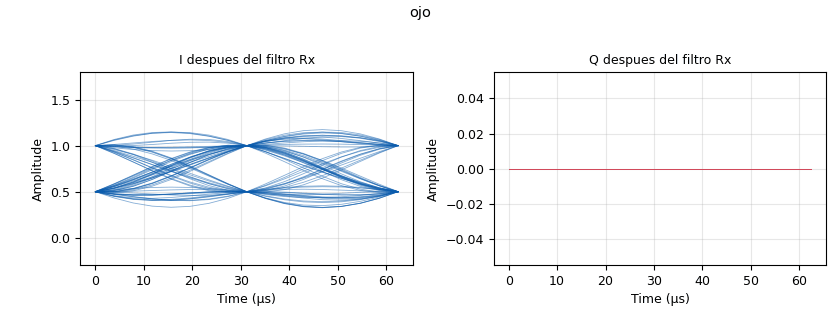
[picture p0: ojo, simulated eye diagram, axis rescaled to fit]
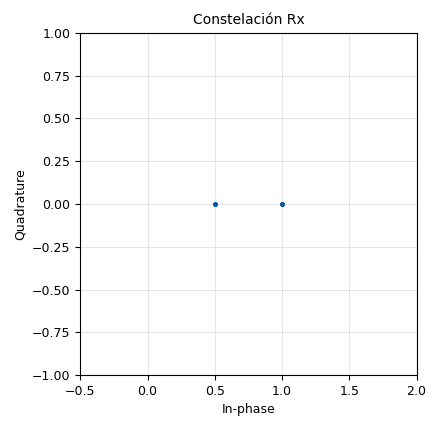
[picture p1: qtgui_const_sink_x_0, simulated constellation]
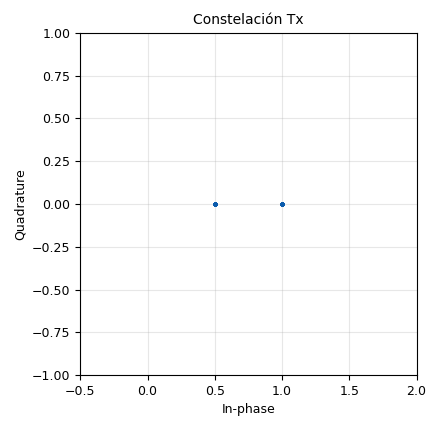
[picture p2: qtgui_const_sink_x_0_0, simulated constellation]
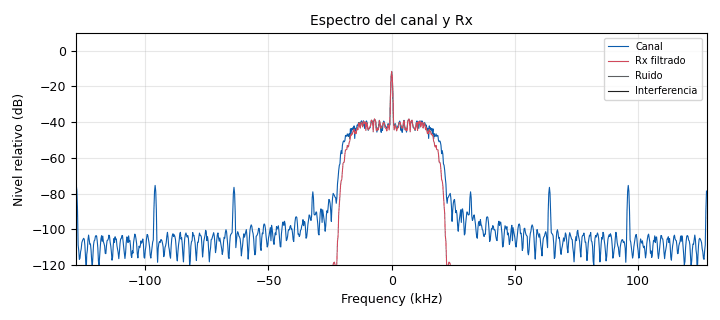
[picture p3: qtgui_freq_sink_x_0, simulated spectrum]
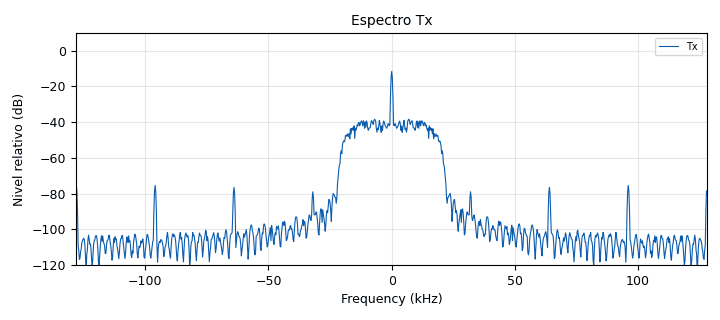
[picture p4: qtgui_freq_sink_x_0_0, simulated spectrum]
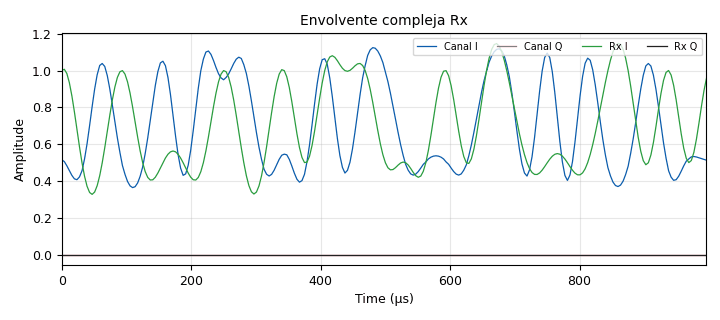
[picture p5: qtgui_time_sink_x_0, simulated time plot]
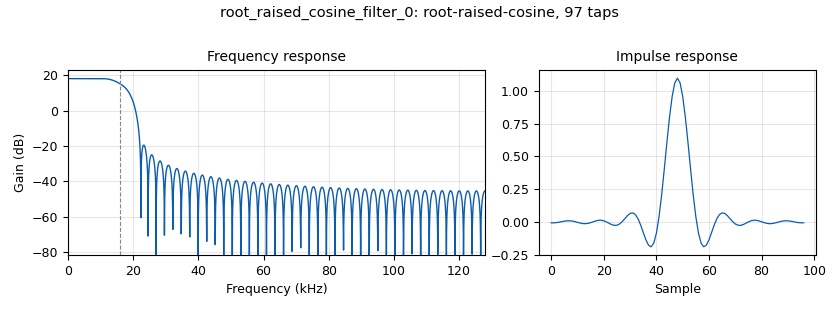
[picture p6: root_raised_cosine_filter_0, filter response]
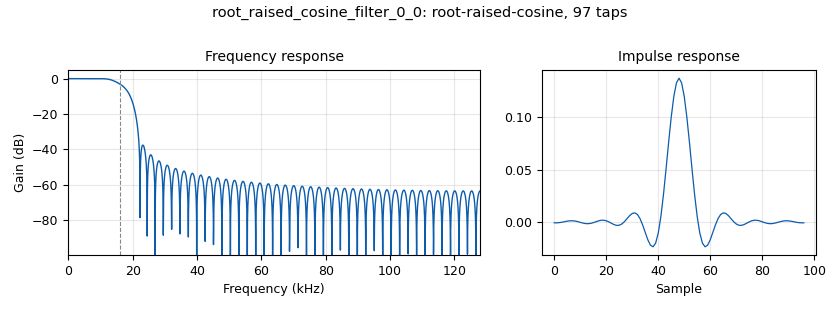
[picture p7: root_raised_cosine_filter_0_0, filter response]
options:
  parameters:
    description: 'Continuacion del diagrama del grupo: ASK, AWGN, interferencia y BER.'
    generate_options: qt_gui
    id: ASK_Fase2
    output_language: python
    title: ASK - Fase 2
  states: {}

blocks:
- name: M
  id: variable
  parameters:
    value: len(tabla_de_verdad_constelacion)
  states: {}
- name: Rb
  id: variable
  parameters:
    value: Rs*bps
  states: {}
- name: Rs
  id: variable
  parameters:
    value: '32000'
  states: {}
- name: Sps
  id: variable
  parameters:
    value: '8'
  states: {}
- name: bps
  id: variable
  parameters:
    value: int(math.log(M,2))
  states: {}
- name: interferencia_amp
  id: variable_qtgui_range
  parameters:
    gui_hint: 1,1,1,2
    label: Amplitud interferencia (0 = apagada)
    start: '0'
    step: '0.05'
    stop: '1'
    value: '0'
  states: {}
- name: n_taps
  id: variable
  parameters:
    comment: '97 coeficientes; retardo total Tx+Rx: 96 muestras.'
    value: 12*Sps+1
  states: {}
- name: noise_amp
  id: variable
  parameters:
    comment: 'Potencia nominal de ASK equiprobable: (0.5**2+1**2)/2 = 0.625.'
    value: ruido_activo*(0.625/10**(snr_db/10))**0.5
  states: {}
- name: ruido_activo
  id: variable_qtgui_check_box
  parameters:
    'false': '0'
    gui_hint: 0,0,1,1
    label: Activar ruido AWGN
    'true': '1'
    type: int
    value: '0'
  states: {}
- name: samp_rate
  id: variable
  parameters:
    value: Rs*Sps
  states: {}
- name: snr_db
  id: variable_qtgui_range
  parameters:
    gui_hint: 1,0,1,1
    label: SNR nominal (dB)
    start: '-4'
    step: '2'
    stop: '20'
    value: '8'
  states: {}
- name: tabla_de_verdad_constelacion
  id: variable
  parameters:
    comment: Cambie esta tabla para OOK ASK BPSK QPSK 8PSK o 16QAM
    value: (0.5+0j, 1.0+0j)
  states: {}
- name: alinear_rx
  id: blocks_skiphead
  parameters:
    num_items: n_taps-1
    type: complex
  states: {}
- name: analog_noise_source_x_0
  id: analog_noise_source_x
  parameters:
    amp: noise_amp
    noise_type: analog.GR_GAUSSIAN
    seed: '0'
    type: complex
  states: {}
- name: analog_random_source_x_0
  id: analog_random_source_x
  parameters:
    max: '2'
    min: '0'
    num_samps: '100000'
    repeat: 'True'
    type: byte
  states: {}
- name: analog_sig_source_x_0
  id: analog_sig_source_x
  parameters:
    amp: interferencia_amp
    freq: '1000'
    offset: '0'
    phase: '0'
    samp_rate: samp_rate
    type: complex
    waveform: analog.GR_SIN_WAVE
  states: {}
- name: ber_media
  id: blocks_moving_average_xx
  parameters:
    length: '10000'
    max_iter: '4000'
    scale: 1/10000
    type: float
  states: {}
- name: blocks_add_xx_0
  id: blocks_add_xx
  parameters:
    type: complex
  states: {}
- name: blocks_add_xx_1
  id: blocks_add_xx
  parameters:
    type: complex
  states: {}
- name: blocks_complex_to_mag_0
  id: blocks_complex_to_mag
  parameters: {}
  states: {}
- name: blocks_float_to_uchar_0
  id: blocks_float_to_uchar
  parameters: {}
  states: {}
- name: blocks_pack_k_bits_bb_0
  id: blocks_pack_k_bits_bb
  parameters:
    k: '8'
  states: {}
- name: blocks_packed_to_unpacked_xx_0
  id: blocks_packed_to_unpacked_xx
  parameters:
    bits_per_chunk: bps
    endianness: gr.GR_MSB_FIRST
    type: byte
  states: {}
- name: blocks_threshold_ff_0
  id: blocks_threshold_ff
  parameters:
    high: '0.75'
    init: '0'
    low: '0.75'
  states: {}
- name: comparar_bits
  id: blocks_xor_xx
  parameters:
    type: byte
  states: {}
- name: digital_chunks_to_symbols_xx_0
  id: digital_chunks_to_symbols_xx
  parameters:
    dimension: '1'
    in_type: byte
    out_type: complex
    symbol_table: tabla_de_verdad_constelacion
  states: {}
- name: errores_float
  id: blocks_uchar_to_float
  parameters: {}
  states: {}
- name: import_0
  id: import
  parameters:
    imports: import math
  states: {}
- name: muestrear
  id: blocks_keep_m_in_n
  parameters:
    m: '1'
    n: Sps
    offset: '0'
    type: complex
  states: {}
- name: ojo
  id: qtgui_eye_sink_x
  parameters:
    grid: 'True'
    gui_hint: vistas@3:0,0,1,1
    label1: I despues del filtro Rx
    label2: Q despues del filtro Rx
    samp_per_symbol: Sps
    size: '1024'
    srate: samp_rate
    type: complex
    ymax: '1.8'
    ymin: '-0.3'
  states: {}
- name: qtgui_const_sink_x_0
  id: qtgui_const_sink_x
  parameters:
    grid: 'True'
    gui_hint: vistas@0:0,1,1,1
    label1: '"Señal ruidosa"'
    legend: 'False'
    name: '"Constelación Rx"'
    size: '2048'
    type: complex
    xmin: '-0.5'
    ymax: '1'
    ymin: '-1'
  states: {}
- name: qtgui_const_sink_x_0_0
  id: qtgui_const_sink_x
  parameters:
    grid: 'True'
    gui_hint: vistas@0:0,0,1,1
    label1: '"Señal ruidosa"'
    legend: 'False'
    name: '"Constelación Tx"'
    size: '2048'
    type: complex
    xmin: '-0.5'
    ymax: '1'
    ymin: '-1'
  states: {}
- name: qtgui_freq_sink_x_0
  id: qtgui_freq_sink_x
  parameters:
    average: '0.2'
    bw: samp_rate
    fc: '0'
    fftsize: '1024'
    freqhalf: 'False'
    grid: 'True'
    gui_hint: vistas@2:0,1,1,1
    label: Nivel relativo
    label1: Canal
    label2: Rx filtrado
    label3: Ruido
    label4: Interferencia
    name: '"Espectro del canal y Rx"'
    nconnections: '4'
    type: complex
    ymin: '-120'
  states: {}
- name: qtgui_freq_sink_x_0_0
  id: qtgui_freq_sink_x
  parameters:
    average: '0.2'
    bw: samp_rate
    fc: '0'
    fftsize: '1024'
    freqhalf: 'False'
    grid: 'True'
    gui_hint: vistas@2:0,0,1,1
    label: Nivel relativo
    label1: Tx
    name: '"Espectro Tx"'
    type: complex
    ymin: '-120'
  states: {}
- name: qtgui_number_sink_0
  id: qtgui_number_sink
  parameters:
    autoscale: 'True'
    graph_type: qtgui.NUM_GRAPH_NONE
    gui_hint: 0,2,1,1
    label1: Fraccion de bits incorrectos
    min: '0'
    name: '"BER (ultimos 10000 bits)"'
    type: float
    update_time: '0.1'
  states: {}
- name: qtgui_time_sink_x_0
  id: qtgui_time_sink_x
  parameters:
    autoscale: 'True'
    grid: 'True'
    gui_hint: vistas@1:0,1,1,1
    label1: Canal I
    label2: Canal Q
    label3: Rx I
    label4: Rx Q
    name: '"Envolvente compleja Rx"'
    nconnections: '2'
    size: '256'
    srate: samp_rate
    type: complex
    ymax: '2'
    ymin: '-2'
  states: {}
- name: qtgui_time_sink_x_0_0
  id: qtgui_time_sink_x
  parameters:
    autoscale: 'True'
    grid: 'True'
    gui_hint: vistas@1:0,0,1,1
    label1: I
    label2: Q
    name: '"Envolvente compleja Tx"'
    size: '256'
    srate: samp_rate
    type: complex
    ymax: '2'
    ymin: '-2'
  states: {}
- name: root_raised_cosine_filter_0
  id: root_raised_cosine_filter
  parameters:
    alpha: '0.35'
    gain: Sps
    interp: Sps
    ntaps: n_taps
    samp_rate: samp_rate
    sym_rate: Rs
    type: interp_fir_filter_ccf
  states: {}
- name: root_raised_cosine_filter_0_0
  id: root_raised_cosine_filter
  parameters:
    alpha: '0.35'
    decim: '1'
    gain: '1'
    ntaps: n_taps
    samp_rate: samp_rate
    sym_rate: Rs
    type: fir_filter_ccf
  states: {}
- name: throttle_0
  id: blocks_throttle2
  parameters:
    samples_per_second: samp_rate
    type: complex
  states: {}
- name: vistas
  id: qtgui_tab_widget
  parameters:
    gui_hint: 2,0,8,3
    label0: Constelaciones
    label1: Tiempo
    label2: Espectros
    label3: Diagrama de ojo
    num_tabs: '4'
  states: {}

connections:
- [alinear_rx, '0', muestrear, '0']
- [analog_noise_source_x_0, '0', blocks_add_xx_1, '1']
- [analog_noise_source_x_0, '0', qtgui_freq_sink_x_0, '2']
- [analog_random_source_x_0, '0', blocks_pack_k_bits_bb_0, '0']
- [analog_sig_source_x_0, '0', blocks_add_xx_0, '1']
- [analog_sig_source_x_0, '0', qtgui_freq_sink_x_0, '3']
- [ber_media, '0', qtgui_number_sink_0, '0']
- [blocks_add_xx_0, '0', qtgui_freq_sink_x_0, '0']
- [blocks_add_xx_0, '0', qtgui_time_sink_x_0, '0']
- [blocks_add_xx_0, '0', root_raised_cosine_filter_0_0, '0']
- [blocks_add_xx_1, '0', blocks_add_xx_0, '0']
- [blocks_complex_to_mag_0, '0', blocks_threshold_ff_0, '0']
- [blocks_float_to_uchar_0, '0', comparar_bits, '1']
- [blocks_pack_k_bits_bb_0, '0', blocks_packed_to_unpacked_xx_0, '0']
- [blocks_packed_to_unpacked_xx_0, '0', comparar_bits, '0']
- [blocks_packed_to_unpacked_xx_0, '0', digital_chunks_to_symbols_xx_0, '0']
- [blocks_threshold_ff_0, '0', blocks_float_to_uchar_0, '0']
- [comparar_bits, '0', errores_float, '0']
- [digital_chunks_to_symbols_xx_0, '0', qtgui_const_sink_x_0_0, '0']
- [digital_chunks_to_symbols_xx_0, '0', root_raised_cosine_filter_0, '0']
- [errores_float, '0', ber_media, '0']
- [muestrear, '0', blocks_complex_to_mag_0, '0']
- [muestrear, '0', qtgui_const_sink_x_0, '0']
- [root_raised_cosine_filter_0, '0', qtgui_freq_sink_x_0_0, '0']
- [root_raised_cosine_filter_0, '0', qtgui_time_sink_x_0_0, '0']
- [root_raised_cosine_filter_0, '0', throttle_0, '0']
- [root_raised_cosine_filter_0_0, '0', alinear_rx, '0']
- [root_raised_cosine_filter_0_0, '0', ojo, '0']
- [root_raised_cosine_filter_0_0, '0', qtgui_freq_sink_x_0, '1']
- [root_raised_cosine_filter_0_0, '0', qtgui_time_sink_x_0, '1']
- [throttle_0, '0', blocks_add_xx_1, '0']

metadata:
  file_format: 1
  grc_version: 3.10.9.2
